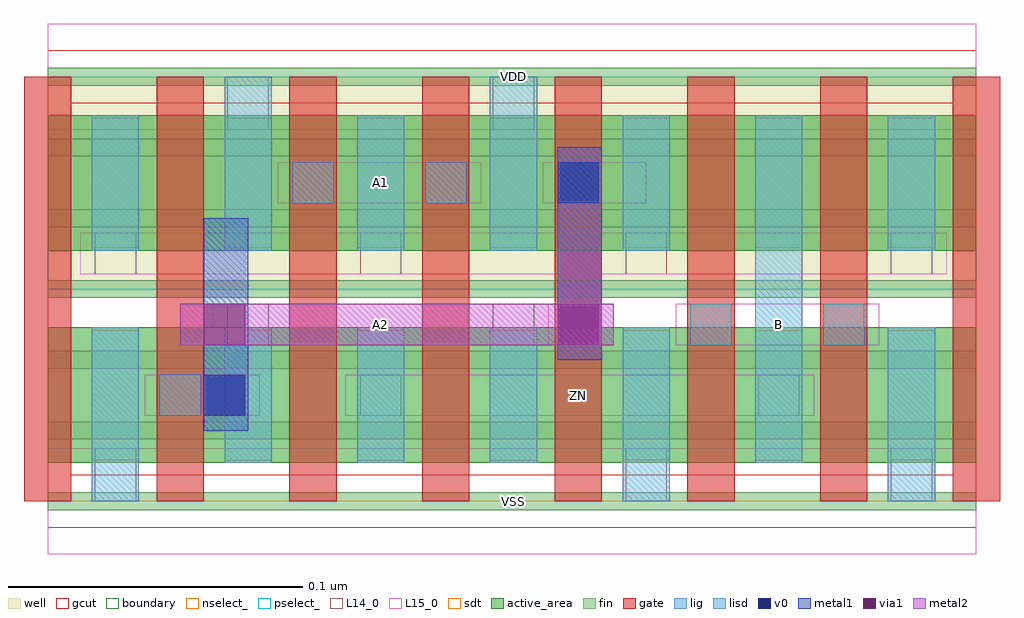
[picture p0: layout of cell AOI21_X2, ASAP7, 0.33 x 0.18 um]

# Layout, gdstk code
import gdstk
lib = gdstk.Library(unit=1e-6, precision=1e-09)
def R(c, l, rs):  # rectangles x0, y0, x1, y1
    for r in rs: c.add(gdstk.rectangle(r[:2], r[2:], *l))
def A(c, l, x, y, w, h, nx, ny, dx, dy):  # array of equal rectangles
    R(c, l, [(x+i*dx, y+j*dy, x+i*dx+w, y+j*dy+h) for i in range(nx) for j in range(ny)])
def P(c, l, *ps):  # polygons
    for p in ps: c.add(gdstk.Polygon(p, *l))
well = (1, 0)
fin = (2, 0)
gate = (7, 0)
gcut = (10, 0)
active_area = (11, 0)
nselect_ = (12, 0)
pselect_ = (13, 0)
L14_0 = (14, 0)
L15_0 = (15, 0)
lig = (16, 0)
lisd = (17, 0)
v0 = (18, 0)
metal1 = (19, 0)
metal2 = (20, 0)
via1 = (21, 0)
sdt = (88, 0)
boundary = (100, 0)

aoi21_x2 = lib.new_cell('AOI21_X2')
R(aoi21_x2, well, [(0,0.072,0.315,0.144)])
A(aoi21_x2, fin, 0, -0.003, 0.315, 0.006, 1, 7, 0, 0.024)
A(aoi21_x2, gate, -0.008, 0, 0.016, 0.144, 8, 1, 0.045, 0)
P(aoi21_x2, gcut, [(0,-0.009),(0,0),(-0.008,0),(-0.008,0.135),(0.008,0.135),(0.008,0.009),(0.307,0.009),(0.307,0.135),(-0.008,0.135),(-0.008,0.144),(0,0.144),(0,0.153),(0.315,0.153),(0.315,0.144),(0.323,0.144),(0.323,0),(0.315,0),(0.315,-0.009)])
R(aoi21_x2, active_area, [(0,0.013,0.315,0.059), (0,0.085,0.315,0.131)])
R(aoi21_x2, nselect_, [(0,0,0.315,0.072)])
R(aoi21_x2, pselect_, [(0,0.072,0.315,0.144)])
A(aoi21_x2, L14_0, 0.016, 0.077, 0.014, 0.014, 4, 1, 0.09, 0)
A(aoi21_x2, L14_0, 0.083, 0.101, 0.014, 0.014, 3, 1, 0.045, 0)
R(aoi21_x2, L14_0, [(0.016,0,0.03,0.018), (0.196,0,0.21,0.018), (0.286,0,0.3,0.018), (0.038,0.029,0.052,0.043), (0.106,0.029,0.12,0.043), (0.241,0.029,0.255,0.043), (0.061,0.053,0.075,0.067), (0.151,0.053,0.165,0.067), (0.218,0.053,0.232,0.067), (0.263,0.053,0.277,0.067), (0.061,0.126,0.075,0.144), (0.151,0.126,0.165,0.144)])
R(aoi21_x2, L15_0, [(0,-0.018,0.315,0.018), (0.033,0.029,0.072,0.043), (0.101,0.029,0.26,0.043), (0.056,0.053,0.17,0.067), (0.213,0.053,0.282,0.067), (0.011,0.077,0.305,0.091), (0.078,0.101,0.147,0.115), (0.168,0.101,0.203,0.115), (0,0.126,0.315,0.162)])
A(aoi21_x2, lig, 0.083, 0.101, 0.014, 0.014, 3, 1, 0.045, 0)
R(aoi21_x2, lig, [(0.038,0.029,0.052,0.043), (0.218,0.053,0.232,0.067), (0.263,0.053,0.277,0.067)])
A(aoi21_x2, lisd, 0.06, 0.013, 0.016, 0.046, 3, 1, 0.045, 0)
A(aoi21_x2, lisd, 0.015, 0.085, 0.016, 0.046, 4, 1, 0.09, 0)
R(aoi21_x2, lisd, [(0.015,0,0.031,0.059), (0.195,0,0.211,0.059), (0.285,0,0.301,0.059), (0.24,0.013,0.256,0.131), (0.06,0.085,0.076,0.144), (0.15,0.085,0.166,0.144)])
R(aoi21_x2, v0, [(0.053,0.029,0.067,0.043), (0.173,0.101,0.187,0.115)])
R(aoi21_x2, metal1, [(0.053,0.024,0.068,0.096), (0.173,0.048,0.188,0.12)])
R(aoi21_x2, metal2, [(0.045,0.053,0.192,0.067)])
R(aoi21_x2, via1, [(0.053,0.053,0.067,0.067), (0.173,0.053,0.187,0.067)])
A(aoi21_x2, sdt, 0.015, 0.014, 0.016, 0.044, 7, 2, 0.045, 0.072)
R(aoi21_x2, boundary, [(0,0,0.315,0.144)])
aoi21_x2.add(gdstk.Label('B', (0.248,0.06), layer=15, texttype=251))
aoi21_x2.add(gdstk.Label('VSS', (0.158,0), layer=15, texttype=251))
aoi21_x2.add(gdstk.Label('VDD', (0.158,0.144), layer=15, texttype=251))
aoi21_x2.add(gdstk.Label('VSS', (0.158,0), layer=15, texttype=251))
aoi21_x2.add(gdstk.Label('VDD', (0.158,0.144), layer=15, texttype=251))
aoi21_x2.add(gdstk.Label('A1', (0.113,0.108), layer=15, texttype=251))
aoi21_x2.add(gdstk.Label('VSS', (0.158,0), layer=15, texttype=251))
aoi21_x2.add(gdstk.Label('VDD', (0.158,0.144), layer=15, texttype=251))
aoi21_x2.add(gdstk.Label('ZN', (0.18,0.036), layer=15, texttype=251))
aoi21_x2.add(gdstk.Label('VSS', (0.158,0), layer=15, texttype=251))
aoi21_x2.add(gdstk.Label('VDD', (0.158,0.144), layer=15, texttype=251))
aoi21_x2.add(gdstk.Label('VSS', (0.158,0), layer=3, texttype=251))
aoi21_x2.add(gdstk.Label('VSS', (0.158,0), layer=3, texttype=251))
aoi21_x2.add(gdstk.Label('VSS', (0.158,0), layer=3, texttype=251))
aoi21_x2.add(gdstk.Label('VSS', (0.158,0), layer=3, texttype=251))
aoi21_x2.add(gdstk.Label('VDD', (0.158,0.144), layer=1, texttype=251))
aoi21_x2.add(gdstk.Label('VDD', (0.158,0.144), layer=1, texttype=251))
aoi21_x2.add(gdstk.Label('VDD', (0.158,0.144), layer=1, texttype=251))
aoi21_x2.add(gdstk.Label('VDD', (0.158,0.144), layer=1, texttype=251))
aoi21_x2.add(gdstk.Label('A2', (0.113,0.06), layer=20, texttype=251))

lib.write_gds('AOI21_X2.gds')
